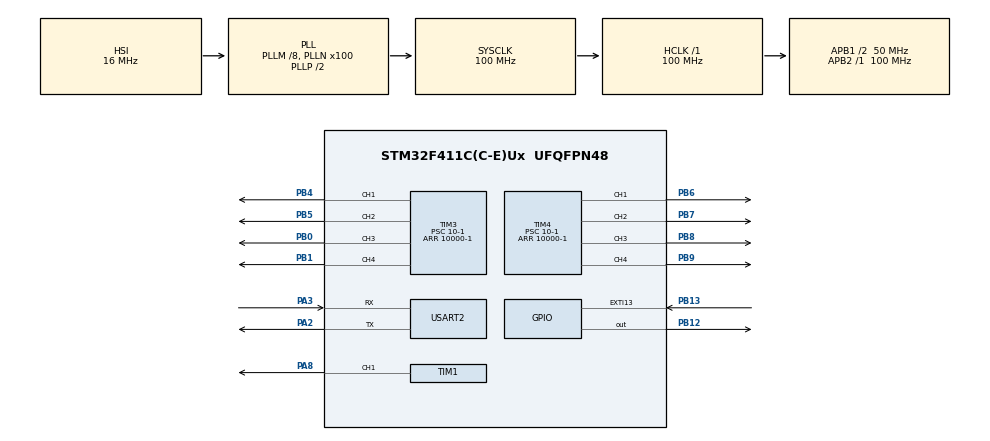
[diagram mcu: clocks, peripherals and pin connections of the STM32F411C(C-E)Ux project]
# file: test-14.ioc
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Mcu.Family=STM32F4
Mcu.Name=STM32F411C(C-E)Ux
Mcu.Package=UFQFPN48
NVIC.EXTI15_10_IRQn=true\:0\:0\:false\:false\:true\:true\:true\:true
NVIC.PriorityGroup=NVIC_PRIORITYGROUP_4
PA13.Mode=Serial_Wire
PA13.Signal=SYS_JTMS-SWDIO
PA14.Mode=Serial_Wire
PA14.Signal=SYS_JTCK-SWCLK
PA2.Mode=Asynchronous
PA2.Signal=USART2_TX
PA3.Mode=Asynchronous
PA3.Signal=USART2_RX
PA8.Signal=S_TIM1_CH1
PB0.Signal=S_TIM3_CH3
PB1.Signal=S_TIM3_CH4
PB12.Signal=GPIO_Output
PB13.Signal=GPXTI13
PB3.Signal=I2C2_SDA
PB4.Signal=S_TIM3_CH1
PB5.Signal=S_TIM3_CH2
PB6.Signal=S_TIM4_CH1
PB7.Signal=S_TIM4_CH2
PB8.Signal=S_TIM4_CH3
PB9.Signal=S_TIM4_CH4
PH0\ -\ OSC_IN.Mode=HSE-External-Clock-Source
PH0\ -\ OSC_IN.Signal=RCC_OSC_IN
PH1\ -\ OSC_OUT.Mode=HSE-External-Clock-Source
PH1\ -\ OSC_OUT.Signal=RCC_OSC_OUT
ProjectManager.HeapSize=0x200
ProjectManager.StackSize=0x400
ProjectManager.TargetToolchain=STM32CubeIDE
RCC.48MHZClocksFreq_Value=50000000
RCC.AHBFreq_Value=100000000
RCC.APB1CLKDivider=RCC_HCLK_DIV2
RCC.APB1Freq_Value=50000000
RCC.APB1TimFreq_Value=100000000
RCC.APB2Freq_Value=100000000
RCC.APB2TimFreq_Value=100000000
RCC.CortexFreq_Value=100000000
RCC.HCLKFreq_Value=100000000
RCC.HSE_VALUE=25000000
RCC.HSI_VALUE=16000000
RCC.LSE_VALUE=32768
RCC.PLLM=8
RCC.PLLN=100
RCC.SYSCLKFreq_VALUE=100000000
RCC.SYSCLKSource=RCC_SYSCLKSOURCE_PLLCLK
RCC.VCOOutputFreq_Value=200000000
SH.S_TIM1_CH1.0=TIM1_CH1,PWM Generation1 CH1
SH.S_TIM3_CH1.0=TIM3_CH1,PWM Generation1 CH1
SH.S_TIM3_CH2.0=TIM3_CH2,PWM Generation2 CH2
SH.S_TIM3_CH3.0=TIM3_CH3,PWM Generation3 CH3
SH.S_TIM3_CH4.0=TIM3_CH4,PWM Generation4 CH4
SH.S_TIM4_CH1.0=TIM4_CH1,PWM Generation1 CH1
SH.S_TIM4_CH2.0=TIM4_CH2,PWM Generation2 CH2
SH.S_TIM4_CH3.0=TIM4_CH3,PWM Generation3 CH3
SH.S_TIM4_CH4.0=TIM4_CH4,PWM Generation4 CH4
TIM1.Channel-PWM\ Generation1\ CH1=TIM_CHANNEL_1
TIM1.Period=50000-1
TIM1.Prescaler=0
TIM3.Channel-PWM\ Generation1\ CH1=TIM_CHANNEL_1
TIM3.Channel-PWM\ Generation2\ CH2=TIM_CHANNEL_2
TIM3.Channel-PWM\ Generation3\ CH3=TIM_CHANNEL_3
TIM3.Channel-PWM\ Generation4\ CH4=TIM_CHANNEL_4
TIM3.Period=10000-1
TIM3.Prescaler=10-1
TIM4.Channel-PWM\ Generation1\ CH1=TIM_CHANNEL_1
TIM4.Channel-PWM\ Generation2\ CH2=TIM_CHANNEL_2
TIM4.Channel-PWM\ Generation3\ CH3=TIM_CHANNEL_3
TIM4.Channel-PWM\ Generation4\ CH4=TIM_CHANNEL_4
TIM4.Period=10000-1
TIM4.Prescaler=10-1
USART2.VirtualMode=VM_ASYNC
VP_TIM1_VS_ClockSourceINT.Mode=Internal
VP_TIM3_VS_ClockSourceINT.Mode=Internal
VP_TIM4_VS_ClockSourceINT.Mode=Internal
board=custom

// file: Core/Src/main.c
/* USER CODE BEGIN Header */
/**
  ******************************************************************************
  * @file           : main.c
  * @brief          : Main program body
  ******************************************************************************
  * @attention
  *
  * Copyright (c) 2024 STMicroelectronics.
  * All rights reserved.
  *
  * This software is licensed under terms that can be found in the LICENSE file
  * in the root directory of this software component.
  * If no LICENSE file comes with this software, it is provided AS-IS.
  *
  ******************************************************************************
  */
/* USER CODE END Header */
#include "main.h"

/* USER CODE BEGIN Includes */
#include <stdio.h>
/* USER CODE END Includes */

TIM_HandleTypeDef htim1;
TIM_HandleTypeDef htim3;
TIM_HandleTypeDef htim4;

UART_HandleTypeDef huart2;

/* USER CODE BEGIN PV */
#define MESSAGE_LENGTH 50
//#define CPU_CLOCK_HZ 16000000
#define COMPARE_VALUE 5000
/* USER CODE END PV */

void SystemClock_Config(void);
static void MX_GPIO_Init(void);
static void MX_TIM1_Init(void);
static void MX_TIM3_Init(void);
static void MX_TIM4_Init(void);
static void MX_USART2_UART_Init(void);

/* USER CODE BEGIN 0 */

char buffer[MESSAGE_LENGTH] = "";
void HAL_GPIO_EXTI_Callback(uint16_t GPIO_PIN) {
   // Your interrupt handling code here
	if(GPIO_PIN == GPIO_PIN_13)
	{
		HAL_GPIO_TogglePin(GPIOB, GPIO_PIN_12);
		sprintf(buffer, "Interrupt triggered.\r\n");
		HAL_UART_Transmit(&huart2, (uint8_t*)buffer, MESSAGE_LENGTH, HAL_MAX_DELAY);
	}
}
/* USER CODE END 0 */

int main(void)
{

  /* MCU Configuration--------------------------------------------------------*/

  /* Reset of all peripherals, Initializes the Flash interface and the Systick. */
  HAL_Init();

  /* Configure the system clock */
  SystemClock_Config();

  /* Initialize all configured peripherals */
  MX_GPIO_Init();
  MX_TIM1_Init();
  MX_TIM3_Init();
  MX_TIM4_Init();
  MX_USART2_UART_Init();
  /* USER CODE BEGIN 2 */

  HAL_TIM_PWM_Start(&htim1, TIM_CHANNEL_1);
  __HAL_TIM_SET_COMPARE(&htim1, TIM_CHANNEL_1, 8000);

  // Start PWM on all four channels of TIM3
  HAL_TIM_PWM_Start(&htim3, TIM_CHANNEL_1);
  __HAL_TIM_SET_COMPARE(&htim3, TIM_CHANNEL_1, COMPARE_VALUE);

  HAL_TIM_PWM_Start(&htim3, TIM_CHANNEL_2);
  __HAL_TIM_SET_COMPARE(&htim3, TIM_CHANNEL_2, COMPARE_VALUE);

  HAL_TIM_PWM_Start(&htim3, TIM_CHANNEL_3);
  __HAL_TIM_SET_COMPARE(&htim3, TIM_CHANNEL_3, COMPARE_VALUE);

  HAL_TIM_PWM_Start(&htim3, TIM_CHANNEL_4);
  __HAL_TIM_SET_COMPARE(&htim3, TIM_CHANNEL_4, COMPARE_VALUE);

  // Start PWM on all four channels of TIM4
  HAL_TIM_PWM_Start(&htim4, TIM_CHANNEL_1);
  __HAL_TIM_SET_COMPARE(&htim4, TIM_CHANNEL_1, COMPARE_VALUE);

  HAL_TIM_PWM_Start(&htim4, TIM_CHANNEL_2);
  __HAL_TIM_SET_COMPARE(&htim4, TIM_CHANNEL_2, COMPARE_VALUE);

  HAL_TIM_PWM_Start(&htim4, TIM_CHANNEL_3);
  __HAL_TIM_SET_COMPARE(&htim4, TIM_CHANNEL_3, COMPARE_VALUE);

  HAL_TIM_PWM_Start(&htim4, TIM_CHANNEL_4);
  __HAL_TIM_SET_COMPARE(&htim4, TIM_CHANNEL_4, COMPARE_VALUE);

  int counter = 0;
  /* USER CODE END 2 */

  /* Infinite loop */
  while (1)
  {

    /* USER CODE BEGIN 3 */
	  sprintf(buffer, "UART 2 is working. Increment: %i", counter);
	  HAL_UART_Transmit(&huart2, (uint8_t*)buffer, MESSAGE_LENGTH, HAL_MAX_DELAY);
	  counter ++;
	  HAL_Delay(1000);

  }
  /* USER CODE END 3 */
}

void SystemClock_Config(void)
{
  RCC_OscInitTypeDef RCC_OscInitStruct = {0};
  RCC_ClkInitTypeDef RCC_ClkInitStruct = {0};

  /** Configure the main internal regulator output voltage
  */
  __HAL_RCC_PWR_CLK_ENABLE();
  __HAL_PWR_VOLTAGESCALING_CONFIG(PWR_REGULATOR_VOLTAGE_SCALE1);

  /** Initializes the RCC Oscillators according to the specified parameters
  * in the RCC_OscInitTypeDef structure.
  */
  RCC_OscInitStruct.OscillatorType = RCC_OSCILLATORTYPE_HSI;
  RCC_OscInitStruct.HSIState = RCC_HSI_ON;
  RCC_OscInitStruct.HSICalibrationValue = RCC_HSICALIBRATION_DEFAULT;
  RCC_OscInitStruct.PLL.PLLState = RCC_PLL_ON;
  RCC_OscInitStruct.PLL.PLLSource = RCC_PLLSOURCE_HSI;
  RCC_OscInitStruct.PLL.PLLM = 8;
  RCC_OscInitStruct.PLL.PLLN = 100;
  RCC_OscInitStruct.PLL.PLLP = RCC_PLLP_DIV2;
  RCC_OscInitStruct.PLL.PLLQ = 4;
  if (HAL_RCC_OscConfig(&RCC_OscInitStruct) != HAL_OK)
  {
    Error_Handler();
  }

  /** Initializes the CPU, AHB and APB buses clocks
  */
  RCC_ClkInitStruct.ClockType = RCC_CLOCKTYPE_HCLK|RCC_CLOCKTYPE_SYSCLK
                              |RCC_CLOCKTYPE_PCLK1|RCC_CLOCKTYPE_PCLK2;
  RCC_ClkInitStruct.SYSCLKSource = RCC_SYSCLKSOURCE_PLLCLK;
  RCC_ClkInitStruct.AHBCLKDivider = RCC_SYSCLK_DIV1;
  RCC_ClkInitStruct.APB1CLKDivider = RCC_HCLK_DIV2;
  RCC_ClkInitStruct.APB2CLKDivider = RCC_HCLK_DIV1;

  if (HAL_RCC_ClockConfig(&RCC_ClkInitStruct, FLASH_LATENCY_3) != HAL_OK)
  {
    Error_Handler();
  }
}

static void MX_TIM1_Init(void)
{

  TIM_ClockConfigTypeDef sClockSourceConfig = {0};
  TIM_MasterConfigTypeDef sMasterConfig = {0};
  TIM_OC_InitTypeDef sConfigOC = {0};
  TIM_BreakDeadTimeConfigTypeDef sBreakDeadTimeConfig = {0};

  htim1.Instance = TIM1;
  htim1.Init.Prescaler = 0;
  htim1.Init.CounterMode = TIM_COUNTERMODE_UP;
  htim1.Init.Period = 50000-1;
  htim1.Init.ClockDivision = TIM_CLOCKDIVISION_DIV1;
  htim1.Init.RepetitionCounter = 0;
  htim1.Init.AutoReloadPreload = TIM_AUTORELOAD_PRELOAD_DISABLE;
  if (HAL_TIM_Base_Init(&htim1) != HAL_OK)
  {
    Error_Handler();
  }
  sClockSourceConfig.ClockSource = TIM_CLOCKSOURCE_INTERNAL;
  if (HAL_TIM_ConfigClockSource(&htim1, &sClockSourceConfig) != HAL_OK)
  {
    Error_Handler();
  }
  if (HAL_TIM_PWM_Init(&htim1) != HAL_OK)
  {
    Error_Handler();
  }
  sMasterConfig.MasterOutputTrigger = TIM_TRGO_RESET;
  sMasterConfig.MasterSlaveMode = TIM_MASTERSLAVEMODE_DISABLE;
  if (HAL_TIMEx_MasterConfigSynchronization(&htim1, &sMasterConfig) != HAL_OK)
  {
    Error_Handler();
  }
  sConfigOC.OCMode = TIM_OCMODE_PWM1;
  sConfigOC.Pulse = 0;
  sConfigOC.OCPolarity = TIM_OCPOLARITY_HIGH;
  sConfigOC.OCNPolarity = TIM_OCNPOLARITY_HIGH;
  sConfigOC.OCFastMode = TIM_OCFAST_DISABLE;
  sConfigOC.OCIdleState = TIM_OCIDLESTATE_RESET;
  sConfigOC.OCNIdleState = TIM_OCNIDLESTATE_RESET;
  if (HAL_TIM_PWM_ConfigChannel(&htim1, &sConfigOC, TIM_CHANNEL_1) != HAL_OK)
  {
    Error_Handler();
  }
  sBreakDeadTimeConfig.OffStateRunMode = TIM_OSSR_DISABLE;
  sBreakDeadTimeConfig.OffStateIDLEMode = TIM_OSSI_DISABLE;
  sBreakDeadTimeConfig.LockLevel = TIM_LOCKLEVEL_OFF;
  sBreakDeadTimeConfig.DeadTime = 0;
  sBreakDeadTimeConfig.BreakState = TIM_BREAK_DISABLE;
  sBreakDeadTimeConfig.BreakPolarity = TIM_BREAKPOLARITY_HIGH;
  sBreakDeadTimeConfig.AutomaticOutput = TIM_AUTOMATICOUTPUT_DISABLE;
  if (HAL_TIMEx_ConfigBreakDeadTime(&htim1, &sBreakDeadTimeConfig) != HAL_OK)
  {
    Error_Handler();
  }
  HAL_TIM_MspPostInit(&htim1);

}

static void MX_TIM3_Init(void)
{

  TIM_ClockConfigTypeDef sClockSourceConfig = {0};
  TIM_MasterConfigTypeDef sMasterConfig = {0};
  TIM_OC_InitTypeDef sConfigOC = {0};

  htim3.Instance = TIM3;
  htim3.Init.Prescaler = 10-1;
  htim3.Init.CounterMode = TIM_COUNTERMODE_UP;
  htim3.Init.Period = 10000-1;
  htim3.Init.ClockDivision = TIM_CLOCKDIVISION_DIV1;
  htim3.Init.AutoReloadPreload = TIM_AUTORELOAD_PRELOAD_DISABLE;
  if (HAL_TIM_Base_Init(&htim3) != HAL_OK)
  {
    Error_Handler();
  }
  sClockSourceConfig.ClockSource = TIM_CLOCKSOURCE_INTERNAL;
  if (HAL_TIM_ConfigClockSource(&htim3, &sClockSourceConfig) != HAL_OK)
  {
    Error_Handler();
  }
  if (HAL_TIM_PWM_Init(&htim3) != HAL_OK)
  {
    Error_Handler();
  }
  sMasterConfig.MasterOutputTrigger = TIM_TRGO_RESET;
  sMasterConfig.MasterSlaveMode = TIM_MASTERSLAVEMODE_DISABLE;
  if (HAL_TIMEx_MasterConfigSynchronization(&htim3, &sMasterConfig) != HAL_OK)
  {
    Error_Handler();
  }
  sConfigOC.OCMode = TIM_OCMODE_PWM1;
  sConfigOC.Pulse = 0;
  sConfigOC.OCPolarity = TIM_OCPOLARITY_HIGH;
  sConfigOC.OCFastMode = TIM_OCFAST_DISABLE;
  if (HAL_TIM_PWM_ConfigChannel(&htim3, &sConfigOC, TIM_CHANNEL_1) != HAL_OK)
  {
    Error_Handler();
  }
  if (HAL_TIM_PWM_ConfigChannel(&htim3, &sConfigOC, TIM_CHANNEL_2) != HAL_OK)
  {
    Error_Handler();
  }
  if (HAL_TIM_PWM_ConfigChannel(&htim3, &sConfigOC, TIM_CHANNEL_3) != HAL_OK)
  {
    Error_Handler();
  }
  if (HAL_TIM_PWM_ConfigChannel(&htim3, &sConfigOC, TIM_CHANNEL_4) != HAL_OK)
  {
    Error_Handler();
  }
  HAL_TIM_MspPostInit(&htim3);

}

static void MX_TIM4_Init(void)
{

  TIM_ClockConfigTypeDef sClockSourceConfig = {0};
  TIM_MasterConfigTypeDef sMasterConfig = {0};
  TIM_OC_InitTypeDef sConfigOC = {0};

  htim4.Instance = TIM4;
  htim4.Init.Prescaler = 10-1;
  htim4.Init.CounterMode = TIM_COUNTERMODE_UP;
  htim4.Init.Period = 10000-1;
  htim4.Init.ClockDivision = TIM_CLOCKDIVISION_DIV1;
  htim4.Init.AutoReloadPreload = TIM_AUTORELOAD_PRELOAD_DISABLE;
  if (HAL_TIM_Base_Init(&htim4) != HAL_OK)
  {
    Error_Handler();
  }
  sClockSourceConfig.ClockSource = TIM_CLOCKSOURCE_INTERNAL;
  if (HAL_TIM_ConfigClockSource(&htim4, &sClockSourceConfig) != HAL_OK)
  {
    Error_Handler();
  }
  if (HAL_TIM_PWM_Init(&htim4) != HAL_OK)
  {
    Error_Handler();
  }
  sMasterConfig.MasterOutputTrigger = TIM_TRGO_RESET;
  sMasterConfig.MasterSlaveMode = TIM_MASTERSLAVEMODE_DISABLE;
  if (HAL_TIMEx_MasterConfigSynchronization(&htim4, &sMasterConfig) != HAL_OK)
  {
    Error_Handler();
  }
  sConfigOC.OCMode = TIM_OCMODE_PWM1;
  sConfigOC.Pulse = 0;
  sConfigOC.OCPolarity = TIM_OCPOLARITY_HIGH;
  sConfigOC.OCFastMode = TIM_OCFAST_DISABLE;
  if (HAL_TIM_PWM_ConfigChannel(&htim4, &sConfigOC, TIM_CHANNEL_1) != HAL_OK)
  {
    Error_Handler();
  }
  if (HAL_TIM_PWM_ConfigChannel(&htim4, &sConfigOC, TIM_CHANNEL_2) != HAL_OK)
  {
    Error_Handler();
  }
  if (HAL_TIM_PWM_ConfigChannel(&htim4, &sConfigOC, TIM_CHANNEL_3) != HAL_OK)
  {
    Error_Handler();
  }
  if (HAL_TIM_PWM_ConfigChannel(&htim4, &sConfigOC, TIM_CHANNEL_4) != HAL_OK)
  {
    Error_Handler();
  }
  HAL_TIM_MspPostInit(&htim4);

}

static void MX_USART2_UART_Init(void)
{

  huart2.Instance = USART2;
  huart2.Init.BaudRate = 115200;
  huart2.Init.WordLength = UART_WORDLENGTH_8B;
  huart2.Init.StopBits = UART_STOPBITS_1;
  huart2.Init.Parity = UART_PARITY_NONE;
  huart2.Init.Mode = UART_MODE_TX_RX;
  huart2.Init.HwFlowCtl = UART_HWCONTROL_NONE;
  huart2.Init.OverSampling = UART_OVERSAMPLING_16;
  if (HAL_UART_Init(&huart2) != HAL_OK)
  {
    Error_Handler();
  }

}

static void MX_GPIO_Init(void)
{
  GPIO_InitTypeDef GPIO_InitStruct = {0};

  /* GPIO Ports Clock Enable */
  __HAL_RCC_GPIOH_CLK_ENABLE();
  __HAL_RCC_GPIOA_CLK_ENABLE();
  __HAL_RCC_GPIOB_CLK_ENABLE();

  /*Configure GPIO pin Output Level */
  HAL_GPIO_WritePin(GPIOB, GPIO_PIN_12, GPIO_PIN_RESET);

  /*Configure GPIO pin : PB12 */
  GPIO_InitStruct.Pin = GPIO_PIN_12;
  GPIO_InitStruct.Mode = GPIO_MODE_OUTPUT_PP;
  GPIO_InitStruct.Pull = GPIO_NOPULL;
  GPIO_InitStruct.Speed = GPIO_SPEED_FREQ_LOW;
  HAL_GPIO_Init(GPIOB, &GPIO_InitStruct);

  /*Configure GPIO pin : PB13 */
  GPIO_InitStruct.Pin = GPIO_PIN_13;
  GPIO_InitStruct.Mode = GPIO_MODE_IT_RISING;
  GPIO_InitStruct.Pull = GPIO_NOPULL;
  HAL_GPIO_Init(GPIOB, &GPIO_InitStruct);

  /*Configure GPIO pin : PB3 */
  GPIO_InitStruct.Pin = GPIO_PIN_3;
  GPIO_InitStruct.Mode = GPIO_MODE_AF_OD;
  GPIO_InitStruct.Pull = GPIO_NOPULL;
  GPIO_InitStruct.Speed = GPIO_SPEED_FREQ_VERY_HIGH;
  GPIO_InitStruct.Alternate = GPIO_AF9_I2C2;
  HAL_GPIO_Init(GPIOB, &GPIO_InitStruct);

  /* EXTI interrupt init*/
  HAL_NVIC_SetPriority(EXTI15_10_IRQn, 0, 0);
  HAL_NVIC_EnableIRQ(EXTI15_10_IRQn);

}

void Error_Handler(void)
{
  __disable_irq();
  while (1)
  {
  }
}
